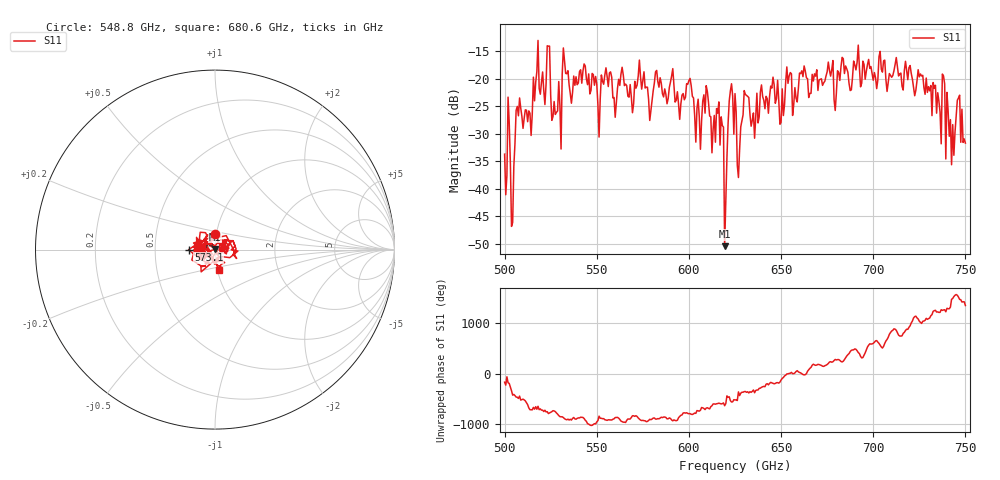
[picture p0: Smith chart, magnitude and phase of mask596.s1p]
!Created with skrf (http://scikit-rf.org).
# GHz S MA R 50.0
!freq magS11 angS11
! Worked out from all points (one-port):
!   401 points, 500 GHz to 750 GHz, reference 50 ohm
!   lowest |S11| = -50.4 dB at 619.4 GHz (marker M1), VSWR 1.01, Z = 50 + j0.302 ohm
!   |S11| at or under -10 dB: start of sweep to end of sweep
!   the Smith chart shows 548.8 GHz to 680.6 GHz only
!   S11 on the Smith chart (normalised r, x): 548.8 GHz: 0.99, +0.17; 573.1 GHz: 0.74, -0.00; 680.6 GHz: 1.02, -0.24
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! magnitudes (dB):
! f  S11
! 500 GHz  -33.7
! 504.4 GHz  -46.1
! 507.5 GHz  -26.7
! 513.8 GHz  -26.3
! 516.9 GHz  -20.7
! 523.8 GHz  -14.1
! 526.9 GHz  -24.2
! 531.2 GHz  -19.2
! 548.8 GHz  -21.2
! 562.5 GHz  -21.2
! 573.1 GHz  -16.6
! 593.8 GHz  -22.4
! 609.4 GHz  -21.3
! 617.5 GHz  -26.9
! 619.4 GHz  -50.4
! 622.5 GHz  -22.2
! 625 GHz  -22.7
! 627.5 GHz  -32.9
! 631.2 GHz  -23.0
! 635 GHz  -26.2
! 656.2 GHz  -26.7
! 680.6 GHz  -18.6
! 687.5 GHz  -22.2
! 718.8 GHz  -20.2
! 738.8 GHz  -21.0
! 742.5 GHz  -35.6
! 746.9 GHz  -23.0
! 750 GHz  -31.7
